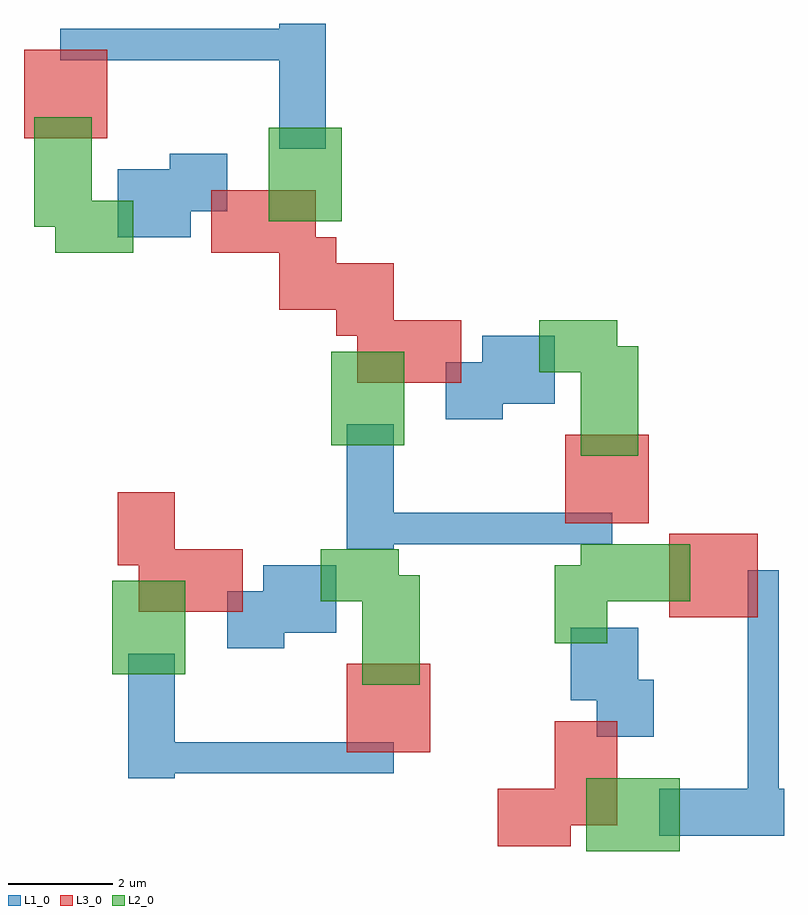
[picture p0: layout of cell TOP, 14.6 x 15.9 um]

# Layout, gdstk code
from math import pi, radians
import gdstk
lib = gdstk.Library(unit=1e-6, precision=1e-09)
def R(c, l, rs):  # rectangles x0, y0, x1, y1
    for r in rs: c.add(gdstk.rectangle(r[:2], r[2:], *l))
L1_0 = (1, 0)
L2_0 = (2, 0)
L3_0 = (3, 0)

c_c1 = lib.new_cell('C1')
R(c_c1, L1_0, [(-2.7,-3.3,-1.8,-0.9), (-2.1,-3.2,2.4,-2.6), (-0.8,-0.8,0.3,0.3), (-0.1,-0.5,1.3,0.8)])
R(c_c1, L2_0, [(1.8,-1.5,2.9,0.6), (-3,-1.3,-1.6,0.5), (1,0.1,2.5,1.1)])
R(c_c1, L3_0, [(1.5,-2.8,3.1,-1.1), (-2.5,-0.1,-0.5,1.1), (-2.9,0.8,-1.8,2.2)])

top = lib.new_cell('TOP')
top.add(gdstk.Reference(c_c1, (-0.3,0.3)))
top.add(gdstk.Reference(c_c1, (-6.1,3.8), rotation=pi))
top.add(gdstk.Reference(c_c1, (2.1,-5.8), rotation=pi/2))
top.add(gdstk.Reference(c_c1, (-4.5,-4.1)))

lib.write_gds('TOP.gds')
